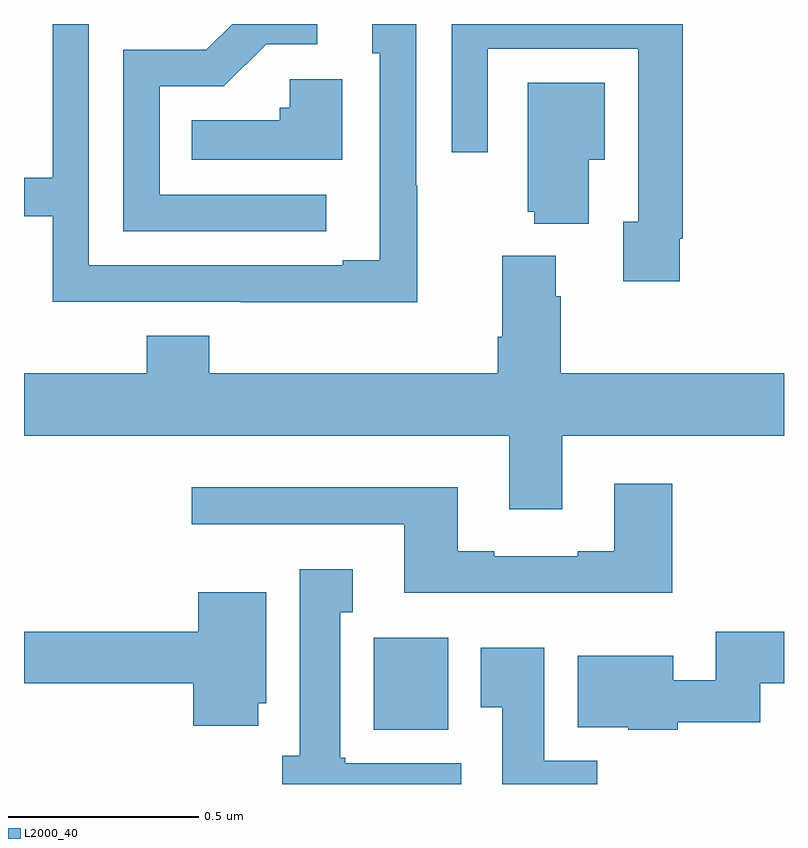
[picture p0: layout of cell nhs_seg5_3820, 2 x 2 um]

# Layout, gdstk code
import gdstk
lib = gdstk.Library(unit=1e-6, precision=1e-09)
def R(c, l, rs):  # rectangles x0, y0, x1, y1
    for r in rs: c.add(gdstk.rectangle(r[:2], r[2:], *l))
def P(c, l, *ps):  # polygons
    for p in ps: c.add(gdstk.Polygon(p, *l))
L2000_40 = (2000, 40)

nhs_seg5_3820 = lib.new_cell('nhs_seg5_3820')
R(nhs_seg5_3820, L2000_40, [(162.92,899.942,163.117,900.184)])
P(nhs_seg5_3820, L2000_40, [(163.035,901.373),(163.032,901.373),(163.032,901.799),(162.917,901.799),(162.917,901.722),(162.936,901.722),(162.936,901.177),(162.839,901.177),(162.839,901.164),(162.171,901.164),(162.171,901.799),(162.075,901.799),(162.075,901.394),(162,901.394),(162,901.293),(162.075,901.293),(162.075,901.068),(162.571,901.068),(162.571,901.067),(163.035,901.067)],
  [(162.796,901.35),(162.357,901.35),(162.357,901.635),(162.526,901.635),(162.637,901.746),(162.772,901.746),(162.772,901.799),(162.548,901.799),(162.48,901.731),(162.261,901.731),(162.261,901.254),(162.796,901.254)],
  [(163.726,901.234),(163.733,901.234),(163.733,901.799),(163.125,901.799),(163.125,901.461),(163.221,901.461),(163.221,901.734),(163.617,901.734),(163.617,901.278),(163.577,901.278),(163.577,901.122),(163.726,901.122)],
  [(162.838,901.654),(162.699,901.654),(162.699,901.578),(162.673,901.578),(162.673,901.546),(162.442,901.546),(162.442,901.442),(162.838,901.442)],
  [(163.486,901.442),(163.528,901.442),(163.528,901.645),(163.325,901.645),(163.325,901.305),(163.343,901.305),(163.343,901.274),(163.486,901.274)],
  [(163.417,900.716),(164,900.716),(164,900.88),(163.412,900.88),(163.412,901.082),(163.399,901.082),(163.399,901.189),(163.259,901.189),(163.259,900.976),(163.247,900.976),(163.247,900.88),(162.488,900.88),(162.488,900.979),(162.323,900.979),(162.323,900.88),(162,900.88),(162,900.716),(163.277,900.716),(163.277,900.522),(163.417,900.522)],
  [(163.706,900.589),(163.553,900.589),(163.553,900.412),(163.457,900.412),(163.457,900.399),(163.237,900.399),(163.237,900.412),(163.141,900.412),(163.141,900.58),(162.441,900.58),(162.441,900.483),(163.001,900.483),(163.001,900.302),(163.706,900.302)],
  [(163.15,899.854),(162.846,899.854),(162.846,899.868),(162.832,899.868),(162.832,900.251),(162.865,900.251),(162.865,900.364),(162.725,900.364),(162.725,899.874),(162.68,899.874),(162.68,899.799),(163.15,899.799)],
  [(162.616,900.012),(162.637,900.012),(162.637,900.304),(162.458,900.304),(162.458,900.2),(162,900.2),(162,900.064),(162.446,900.064),(162.446,899.952),(162.616,899.952)],
  [(163.721,899.961),(163.937,899.961),(163.937,900.064),(164,900.064),(164,900.2),(163.821,900.2),(163.821,900.072),(163.708,900.072),(163.708,900.136),(163.457,900.136),(163.457,899.948),(163.59,899.948),(163.59,899.942),(163.721,899.942)],
  [(163.508,899.86),(163.369,899.86),(163.369,900.157),(163.202,900.157),(163.202,900.001),(163.259,900.001),(163.259,899.799),(163.508,899.799)])

lib.write_gds('nhs_seg5_3820.gds')
